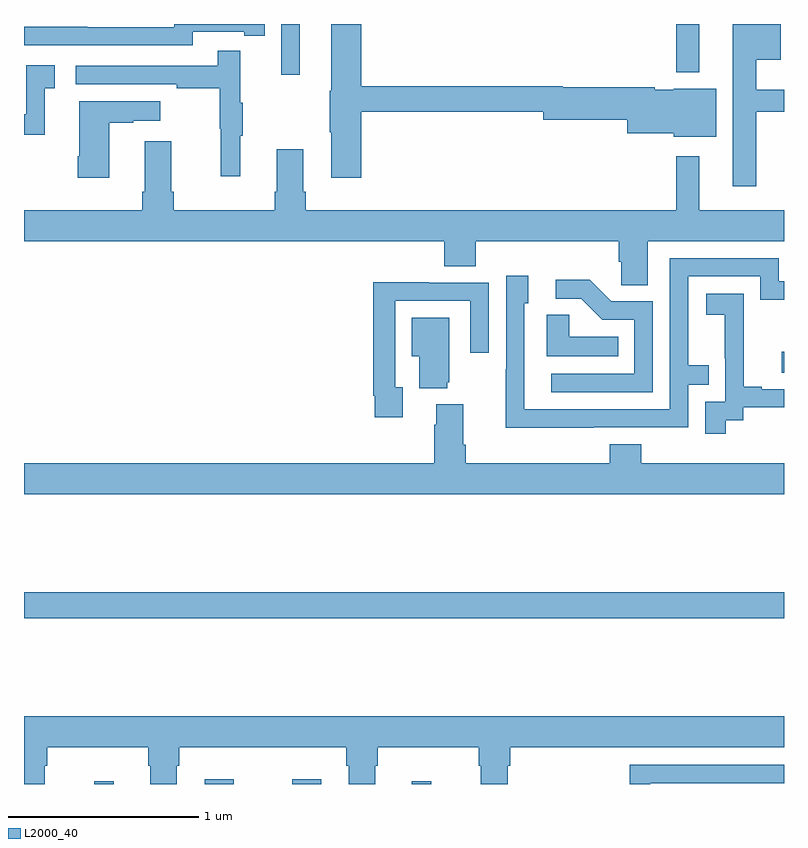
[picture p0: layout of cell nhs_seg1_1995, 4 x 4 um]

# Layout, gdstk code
import gdstk
lib = gdstk.Library(unit=1e-6, precision=1e-09)
def R(c, l, rs):  # rectangles x0, y0, x1, y1
    for r in rs: c.add(gdstk.rectangle(r[:2], r[2:], *l))
def P(c, l, *ps):  # polygons
    for p in ps: c.add(gdstk.Polygon(p, *l))
L2000_40 = (2000, 40)

nhs_seg1_1995 = lib.new_cell('nhs_seg1_1995')
R(nhs_seg1_1995, L2000_40, [(219.37,558.199,219.473,558.214), (219.95,558.199,220.104,558.223), (220.411,558.199,220.564,558.223), (221.042,558.199,221.144,558.214), (219,559.072,223,559.208), (222.987,560.364,223,560.473), (220.353,561.933,220.45,562.199), (222.432,561.944,222.553,562.199)])
P(nhs_seg1_1995, L2000_40, [(222.853,561.736),(223,561.736),(223,561.853),(222.853,561.853),(222.853,562.01),(222.982,562.01),(222.982,562.199),(222.731,562.199),(222.731,561.345),(222.853,561.345)],
  [(219.888,562.158),(220.16,562.158),(220.16,562.138),(220.268,562.138),(220.268,562.199),(219.792,562.199),(219.792,562.182),(219.332,562.182),(219.332,562.184),(219,562.184),(219,562.086),(219.888,562.086)],
  [(220.775,561.736),(221.732,561.736),(221.732,561.694),(222.176,561.694),(222.176,561.623),(222.42,561.623),(222.42,561.605),(222.643,561.605),(222.643,561.859),(222.42,561.859),(222.42,561.853),(222.32,561.853),(222.32,561.866),(221.836,561.866),(221.836,561.872),(220.775,561.872),(220.775,562.199),(220.616,562.199),(220.616,561.849),(220.609,561.849),(220.609,561.628),(220.616,561.628),(220.616,561.39),(220.775,561.39)],
  [(220.139,561.611),(220.15,561.611),(220.15,561.785),(220.139,561.785),(220.139,562.057),(220.021,562.057),(220.021,561.978),(219.273,561.978),(219.273,561.882),(219.805,561.882),(219.805,561.862),(220.029,561.862),(220.029,561.648),(220.036,561.648),(220.036,561.399),(220.139,561.399)],
  [(219.11,561.861),(219.163,561.861),(219.163,561.982),(219.012,561.982),(219.012,561.723),(219,561.723),(219,561.615),(219.11,561.615)],
  [(219.448,561.679),(219.575,561.679),(219.575,561.689),(219.718,561.689),(219.718,561.793),(219.29,561.793),(219.29,561.502),(219.283,561.502),(219.283,561.39),(219.448,561.39)],
  [(222.283,561.056),(223,561.056),(223,561.22),(222.553,561.22),(222.553,561.502),(222.432,561.502),(222.432,561.22),(220.484,561.22),(220.484,561.316),(220.471,561.316),(220.471,561.541),(220.331,561.541),(220.331,561.316),(220.319,561.316),(220.319,561.22),(219.788,561.22),(219.788,561.316),(219.775,561.316),(219.775,561.583),(219.635,561.583),(219.635,561.316),(219.623,561.316),(219.623,561.22),(219,561.22),(219,561.056),(221.213,561.056),(221.213,560.923),(221.378,560.923),(221.378,561.056),(222.131,561.056),(222.131,560.947),(222.144,560.947),(222.144,560.824),(222.283,560.824)],
  [(221.999,560.076),(222.495,560.076),(222.495,560.301),(222.605,560.301),(222.605,560.402),(222.495,560.402),(222.495,560.871),(222.876,560.871),(222.876,560.748),(223,560.748),(223,560.844),(222.973,560.844),(222.973,560.967),(222.399,560.967),(222.399,560.172),(221.634,560.172),(221.634,560.73),(221.653,560.73),(221.653,560.875),(221.538,560.875),(221.538,560.381),(221.536,560.381),(221.536,560.075),(221.999,560.075)],
  [(222.309,560.739),(222.09,560.739),(221.977,560.852),(221.799,560.852),(221.799,560.754),(221.933,560.754),(222.044,560.643),(222.213,560.643),(222.213,560.358),(221.775,560.358),(221.775,560.262),(222.309,560.262)],
  [(220.993,560.286),(220.953,560.286),(220.953,560.742),(221.349,560.742),(221.349,560.469),(221.445,560.469),(221.445,560.838),(221.129,560.838),(221.129,560.84),(220.837,560.84),(220.837,560.242),(220.845,560.242),(220.845,560.13),(220.993,560.13)],
  [(222.694,560.113),(222.786,560.113),(222.786,560.181),(223,560.181),(223,560.277),(222.883,560.277),(222.883,560.29),(222.788,560.29),(222.788,560.573),(222.789,560.573),(222.789,560.779),(222.591,560.779),(222.591,560.669),(222.689,560.669),(222.689,560.441),(222.69,560.441),(222.69,560.211),(222.585,560.211),(222.585,560.043),(222.694,560.043)],
  [(222.128,560.554),(221.871,560.554),(221.871,560.669),(221.75,560.669),(221.75,560.45),(222.128,560.45)],
  [(221.228,560.313),(221.239,560.313),(221.239,560.653),(221.042,560.653),(221.042,560.45),(221.081,560.45),(221.081,560.282),(221.228,560.282)],
  [(223,559.888),(222.248,559.888),(222.248,559.987),(222.083,559.987),(222.083,559.888),(221.324,559.888),(221.324,559.984),(221.311,559.984),(221.311,560.197),(221.171,560.197),(221.171,560.09),(221.159,560.09),(221.159,559.888),(219,559.888),(219,559.724),(223,559.724)],
  [(219,558.199),(219.109,558.199),(219.109,558.296),(219.122,558.296),(219.122,558.392),(219.653,558.392),(219.653,558.296),(219.665,558.296),(219.665,558.199),(219.805,558.199),(219.805,558.296),(219.818,558.296),(219.818,558.392),(220.697,558.392),(220.697,558.296),(220.709,558.296),(220.709,558.199),(220.849,558.199),(220.849,558.296),(220.862,558.296),(220.862,558.392),(221.393,558.392),(221.393,558.296),(221.405,558.296),(221.405,558.199),(221.545,558.199),(221.545,558.296),(221.558,558.296),(221.558,558.392),(223,558.392),(223,558.556),(219,558.556)],
  [(222.297,558.204),(223,558.204),(223,558.3),(222.189,558.3),(222.189,558.199),(222.297,558.199)])

lib.write_gds('nhs_seg1_1995.gds')
